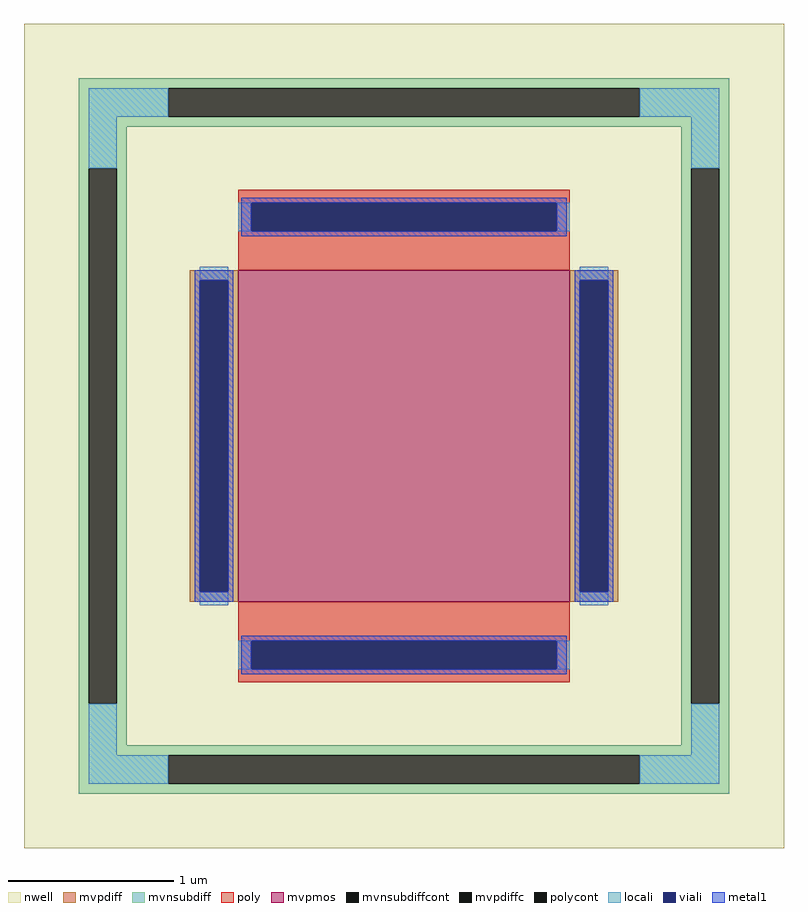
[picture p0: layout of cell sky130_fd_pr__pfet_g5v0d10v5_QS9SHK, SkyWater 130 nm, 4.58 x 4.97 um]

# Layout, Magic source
magic
tech sky130A
magscale 1 2
<< nwell >>
rect -458 -497 458 497
<< mvpmos >>
rect -200 -200 200 200
<< mvpdiff >>
rect -258 188 -200 200
rect -258 -188 -246 188
rect -212 -188 -200 188
rect -258 -200 -200 -188
rect 200 188 258 200
rect 200 -188 212 188
rect 246 -188 258 188
rect 200 -200 258 -188
<< mvpdiffc >>
rect -246 -188 -212 188
rect 212 -188 246 188
<< mvnsubdiff >>
rect -392 419 392 431
rect -392 385 -284 419
rect 284 385 392 419
rect -392 373 392 385
rect -392 323 -334 373
rect -392 -323 -380 323
rect -346 -323 -334 323
rect 334 323 392 373
rect -392 -373 -334 -323
rect 334 -323 346 323
rect 380 -323 392 323
rect 334 -373 392 -323
rect -392 -385 392 -373
rect -392 -419 -284 -385
rect 284 -419 392 -385
rect -392 -431 392 -419
<< mvnsubdiffcont >>
rect -284 385 284 419
rect -380 -323 -346 323
rect 346 -323 380 323
rect -284 -419 284 -385
<< poly >>
rect -200 281 200 297
rect -200 247 -184 281
rect 184 247 200 281
rect -200 200 200 247
rect -200 -247 200 -200
rect -200 -281 -184 -247
rect 184 -281 200 -247
rect -200 -297 200 -281
<< polycont >>
rect -184 247 184 281
rect -184 -281 184 -247
<< locali >>
rect -380 385 -284 419
rect 284 385 380 419
rect -380 323 -346 385
rect 346 323 380 385
rect -200 247 -184 281
rect 184 247 200 281
rect -246 188 -212 204
rect -246 -204 -212 -188
rect 212 188 246 204
rect 212 -204 246 -188
rect -200 -281 -184 -247
rect 184 -281 200 -247
rect -380 -385 -346 -323
rect 346 -385 380 -323
rect -380 -419 -284 -385
rect 284 -419 380 -385
<< viali >>
rect -184 247 184 281
rect -246 -188 -212 188
rect 212 -188 246 188
rect -184 -281 184 -247
<< metal1 >>
rect -196 281 196 287
rect -196 247 -184 281
rect 184 247 196 281
rect -196 241 196 247
rect -252 188 -206 200
rect -252 -188 -246 188
rect -212 -188 -206 188
rect -252 -200 -206 -188
rect 206 188 252 200
rect 206 -188 212 188
rect 246 -188 252 188
rect 206 -200 252 -188
rect -196 -247 196 -241
rect -196 -281 -184 -247
rect 184 -281 196 -247
rect -196 -287 196 -281
<< properties >>
string FIXED_BBOX -363 -402 363 402
string gencell sky130_fd_pr__pfet_g5v0d10v5
string library sky130
string parameters w 2 l 2 m 1 nf 1 diffcov 100 polycov 100 guard 1 glc 1 grc 1 gtc 1 gbc 1 tbcov 100 rlcov 100 topc 1 botc 1 poverlap 0 doverlap 1 lmin 0.50 wmin 0.42 compatible {sky130_fd_pr__pfet_01v8  sky130_fd_pr__pfet_01v8_lvt sky130_fd_pr__pfet_01v8_hvt  sky130_fd_pr__pfet_g5v0d10v5} full_metal 1 viasrc 100 viadrn 100 viagate 100 viagb 0 viagr 0 viagl 0 viagt 0
<< end >>
